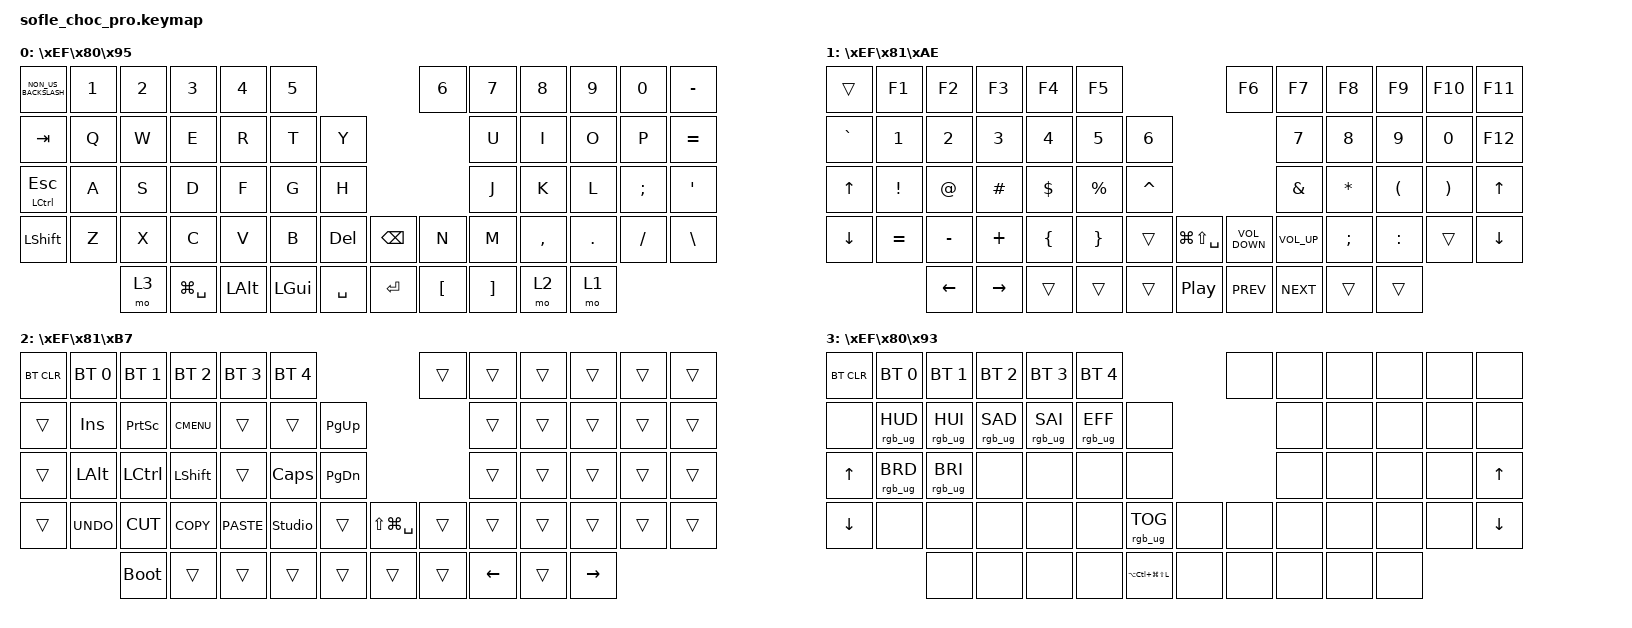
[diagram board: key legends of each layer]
/*
* Copyright (c) 2020 The ZMK Contributors
*
* SPDX-License-Identifier: MIT
*/

#include <behaviors.dtsi>
#include <dt-bindings/zmk/bt.h>
#include <dt-bindings/zmk/keys.h>
#include <dt-bindings/zmk/rgb.h>

#define BASE 0
#define LOWER 1
#define RAISE 2
#define ADJUST 3

/ {
    // Activate ADJUST layer by pressing raise and lower

    conditional_layers { compatible = "zmk,conditional-layers"; };

    combos {
        compatible = "zmk,combos";

        raycast {
            bindings = <&kp LG(SPACE)>;
            key-positions = <54 42>;
            timeout-ms = <500>;
            require-prior-idle-ms = <500>;
        };

        macossleep {
            bindings = <&kp LC(LG(Q))>;
            key-positions = <54 0>;
            timeout-ms = <500>;
            require-prior-idle-ms = <500>;
        };
    };

    keymap {
        compatible = "zmk,keymap";

        default_layer {
            display-name = "\xEF\x80\x95";

            // ------------------------------------------------------------------------------------------------------------
            // |   `   |  1  |  2  |  3   |  4   |  5   |                   |  6   |  7    |  8    |  9   |   0   |   `   |
            // |  ESC  |  Q  |  W  |  E   |  R   |  T   |                   |  Y   |  U    |  I    |  O   |   P   | BKSPC |
            // |  TAB  |  A  |  S  |  D   |  F   |  G   |                   |  H   |  J    |  K    |  L   |   ;   |   '   |
            // | SHIFT |  Z  |  X  |  C   |  V   |  B   |  MUTE  |  | PLAY  |  N   |  M    |  ,    |  .   |   /   | SHIFT |
            //               | GUI | ALT  | CTRL | LOWER|  ENTER |  | SPACE | RAISE| CTRL  | ALT   | GUI  |

            bindings = <
&kp NON_US_BACKSLASH  &kp N1  &kp N2  &kp N3         &kp N4        &kp N5                                   &kp N6            &kp N7             &kp N8     &kp N9   &kp N0    &kp MINUS
&kp TAB               &kp Q   &kp W   &kp E          &kp R         &kp T         &kp Y                                        &kp U              &kp I      &kp O    &kp P     &kp EQUAL
&mt LCTRL ESCAPE      &kp A   &kp S   &kp D          &kp F         &kp G         &kp H                                        &kp J              &kp K      &kp L    &kp SEMI  &kp SQT
&kp LSHFT             &kp Z   &kp X   &kp C          &kp V         &kp B         &kp DELETE  &kp BACKSPACE  &kp N             &kp M              &kp COMMA  &kp DOT  &kp FSLH  &kp BACKSLASH
                              &mo 3   &kp LG(SPACE)  &kp LEFT_ALT  &kp LEFT_GUI  &kp SPACE   &kp ENTER      &kp LEFT_BRACKET  &kp RIGHT_BRACKET  &mo 2      &mo 1
            >;
        };

        lower_layer {
            display-name = "\xEF\x81\xAE";

            // ------------------------------------------------------------------------------------------------------------
            // |       |  F1 |  F2 |  F3  |  F4  |  F5  |                   |  F6  |  F7   |  F8   |  F9  |  F10  |  F11  |
            // |   `   |  1  |  2  |  3   |  4   |  5   |                   |  6   |  7    |  8    |  9   |   0   |  F12  |
            // |       |  !  |  @  |  #   |  $   |  %   |                   |  ^   |  &    |  *    |  (   |   )   |   |   |
            // |       |  =  |  -  |  +   |  {   |  }   |        |  |       |  [   |  ]    |  ;    |  :   |   \   |       |
            //               |     |      |      |      |        |  |       |      |       |       |      |

            bindings = <
&trans        &kp F1     &kp F2     &kp F3     &kp F4    &kp F5                                   &kp F6             &kp F7           &kp F8     &kp F9     &kp F10   &kp F11
&kp GRAVE     &kp N1     &kp N2     &kp N3     &kp N4    &kp N5     &kp N6                                           &kp N7           &kp N8     &kp N9     &kp N0    &kp F12
&kp UP_ARROW  &kp EXCL   &kp AT     &kp HASH   &kp DLLR  &kp PRCNT  &kp CARET                                        &kp AMPS         &kp ASTRK  &kp LPAR   &kp RPAR  &kp UP_ARROW
&kp DOWN      &kp EQUAL  &kp MINUS  &kp PLUS   &kp LBRC  &kp RBRC   &trans     &kp LG(LS(SPACE))  &kp C_VOLUME_DOWN  &kp C_VOLUME_UP  &kp SEMI   &kp COLON  &trans    &kp DOWN
                         &kp LEFT   &kp RIGHT  &trans    &trans     &trans     &kp C_PLAY_PAUSE   &kp C_PREV         &kp C_NEXT       &trans     &trans
            >;
        };

        raise_layer {
            display-name = "\xEF\x81\xB7";

            // ------------------------------------------------------------------------------------------------------------
            // | BTCLR | BT1  | BT2  |  BT3  |  BT4  |  BT5 |                |      |      |       |      |       |       |
            // |       | INS  | PSCR | GUI   |       |      |                | PGUP |      |   ^   |      |       |       |
            // |       | ALT  | CTRL | SHIFT |       | CAPS |                | PGDN |   <- |   v   |  ->  |  DEL  | BKSPC |
            // |       | UNDO | CUT  | COPY  | PASTE |      |      |  |      |      |      |       |      |       |       |
            //                |      |       |       |      |      |  |      |      |      |       |      |

            bindings = <
&bt BT_CLR  &bt BT_SEL 0  &bt BT_SEL 1  &bt BT_SEL 2  &bt BT_SEL 3  &bt BT_SEL 4                                  &trans  &trans          &trans  &trans     &trans  &trans
&trans      &kp INS       &kp PSCRN     &kp K_CMENU   &trans        &trans          &kp PG_UP                             &trans          &trans  &trans     &trans  &trans
&trans      &kp LALT      &kp LCTRL     &kp LSHFT     &trans        &kp CLCK        &kp PG_DN                             &trans          &trans  &trans     &trans  &trans
&trans      &kp K_UNDO    &kp K_CUT     &kp K_COPY    &kp K_PASTE   &studio_unlock  &trans     &kp LS(LG(SPACE))  &trans  &trans          &trans  &trans     &trans  &trans
                          &bootloader   &trans        &trans        &trans          &trans     &trans             &trans  &kp LEFT_ARROW  &trans  &kp RIGHT
            >;
        };

        adjust_layer {
            // ----------------------------------------------------------------------------------------------------------------------------
            // | BTCLR  |  BT1    |  BT2    |   BT3   |   BT4   |   BT5   |                  |      |      |       |      |       |       |
            // | EXTPWR | RGB_HUD | RGB_HUI | RGB_SAD | RGB_SAI | RGB_EFF |                  |      |      |       |      |       |       |
            // |        | RGB_BRD | RGB_BRI |         |         |         |                  |      |      |       |      |       |       |
            // |        |         |         |         |         |         | RGB_TOG | |      |      |      |       |      |       |       |
            //                    |         |         |         |         |         | |      |      |      |       |      |

            display-name = "\xEF\x80\x93";
            bindings = <
&bt BT_CLR    &bt BT_SEL 0     &bt BT_SEL 1     &bt BT_SEL 2     &bt BT_SEL 3     &bt BT_SEL 4                                   &none  &none  &none  &none  &none  &none
&none         &rgb_ug RGB_HUD  &rgb_ug RGB_HUI  &rgb_ug RGB_SAD  &rgb_ug RGB_SAI  &rgb_ug RGB_EFF  &none                                &none  &none  &none  &none  &none
&kp UP_ARROW  &rgb_ug RGB_BRD  &rgb_ug RGB_BRI  &none            &none            &none            &none                                &none  &none  &none  &none  &kp UP_ARROW
&kp DOWN      &none            &none            &none            &none            &none            &rgb_ug RGB_TOG        &none  &none  &none  &none  &none  &none  &kp DOWN
                               &none            &none            &none            &none            &kp LA(LC(LG(LS(L))))  &none  &none  &none  &none  &none
            >;
        };
    };
};
